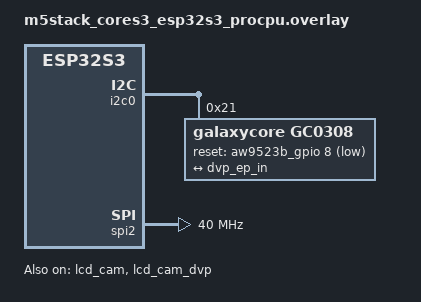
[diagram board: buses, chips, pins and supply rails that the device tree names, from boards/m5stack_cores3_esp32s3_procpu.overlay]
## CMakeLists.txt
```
cmake_minimum_required(VERSION 3.20.0)

list(APPEND DTS_ROOT ${CMAKE_CURRENT_SOURCE_DIR})

find_package(Zephyr REQUIRED HINTS $ENV{ZEPHYR_BASE})
project(camera_display)

target_include_directories(app PRIVATE
    ${ZEPHYR_BASE}/drivers/video
    ${CMAKE_CURRENT_SOURCE_DIR}/drivers/video
)

target_sources(app PRIVATE
    src/main.c
    drivers/video/gc0308.c
)
```

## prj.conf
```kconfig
CONFIG_LOG=y
CONFIG_LOG_DEFAULT_LEVEL=3
CONFIG_CONSOLE=y
CONFIG_UART_CONSOLE=y
CONFIG_SERIAL=y
CONFIG_GPIO=y
CONFIG_I2C=y
CONFIG_SPI=y
CONFIG_REGULATOR=y

# Video Subsystem
CONFIG_VIDEO=y
CONFIG_VIDEO_LOG_LEVEL_INF=y
CONFIG_VIDEO_INIT_PRIORITY=90
CONFIG_VIDEO_BUFFER_POOL_HEAP_SIZE=308000
CONFIG_VIDEO_BUFFER_POOL_NUM_MAX=2
CONFIG_VIDEO_BUFFER_POOL_ALIGN=32

# ESP32-S3 DMA and DVP
CONFIG_DMA=y
CONFIG_DMA_ESP32=y
CONFIG_DMA_ESP32_MAX_DESCRIPTOR_NUM=128

# Display Subsystem (ILI9342C)
CONFIG_DISPLAY=y
CONFIG_MIPI_DBI=y
CONFIG_ILI9342C=y
CONFIG_DISPLAY_LOG_LEVEL_INF=y

# Main thread stack size
CONFIG_MAIN_STACK_SIZE=4096

# Boot delay (3 seconds) to allow PC USB host enumeration and terminal reconnection
CONFIG_BOOT_DELAY=3000
```

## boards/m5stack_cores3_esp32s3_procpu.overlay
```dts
/*
 * Copyright (c) 2026
 * SPDX-License-Identifier: Apache-2.0
 */

#include <zephyr/dt-bindings/pinctrl/esp32s3-pinctrl.h>

/ {
	chosen {
		zephyr,camera = &lcd_cam_dvp;
		zephyr,display = &ili9342c;
	};
};

&pinctrl {
	lcd_cam_default: lcd_cam_default {
		group1 {
			pinmux = <LCD_CAM_V_SYNC_CAM_GPIO46>,
				 <LCD_CAM_H_ENABLE_CAM_GPIO38>,
				 <LCD_CAM_CAM_PCLK_GPIO45>,
				 <LCD_CAM_DATA_IN0_GPIO39>,
				 <LCD_CAM_DATA_IN1_GPIO40>,
				 <LCD_CAM_DATA_IN2_GPIO41>,
				 <LCD_CAM_DATA_IN3_GPIO42>,
				 <LCD_CAM_DATA_IN4_GPIO15>,
				 <LCD_CAM_DATA_IN5_GPIO16>,
				 <LCD_CAM_DATA_IN6_GPIO48>,
				 <LCD_CAM_DATA_IN7_GPIO47>;
			input-enable;
			bias-disable;
		};
	};
};

&i2c0 {
	gc0308: gc0308@21 {
		compatible = "galaxycore,gc0308";
		reg = <0x21>;
		status = "okay";
		reset-gpios = <&aw9523b_gpio 8 GPIO_ACTIVE_LOW>;

		port {
			gc0308_ep_out: endpoint {
				remote-endpoint = <&dvp_ep_in>;
			};
		};
	};
};

&avdd {
	regulator-boot-on;
	regulator-always-on;
};

&dvdd {
	regulator-boot-on;
	regulator-always-on;
};

&vcc_bl {
	regulator-boot-on;
	regulator-always-on;
};

&dma {
	status = "okay";
};

&lcd_cam {
	status = "okay";
	pinctrl-0 = <&lcd_cam_default>;
	pinctrl-names = "default";
};

&lcd_cam_dvp {
	status = "okay";
	cam-clk = <20000000>;
	source = <&gc0308>;

	port {
		dvp_ep_in: endpoint {
			remote-endpoint = <&gc0308_ep_out>;
		};
	};
};

&spi2 {
	clock-frequency = <40000000>;
};

&ili9342c {
	mipi-max-frequency = <40000000>;
};
```

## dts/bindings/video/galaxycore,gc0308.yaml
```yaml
# Copyright (c) 2026
# SPDX-License-Identifier: Apache-2.0

description: GalaxyCore GC0308 CMOS video sensor

compatible: "galaxycore,gc0308"

include: i2c-device.yaml

properties:
  reset-gpios:
    type: phandle-array
    description: |
      The RESET pin is asserted to reset the sensor.
      Active low.

  pwdn-gpios:
    type: phandle-array
    description: |
      The PWDN pin is asserted to power down the sensor.
      Active high.
```

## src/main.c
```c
/*
 * Copyright (c) 2026
 * SPDX-License-Identifier: Apache-2.0
 */

#include <zephyr/kernel.h>
#include <zephyr/device.h>
#include <zephyr/drivers/display.h>
#include <zephyr/drivers/video.h>
#include <zephyr/video/video.h>
#include <zephyr/logging/log.h>
#include <zephyr/version.h>
#include <soc/lcd_cam_struct.h>
#include <soc/gpio_struct.h>

LOG_MODULE_REGISTER(camera_display, LOG_LEVEL_INF);

#define LCD_WIDTH   320
#define LCD_HEIGHT  240
#define FRAME_SIZE  (LCD_WIDTH * LCD_HEIGHT * 2) /* 153,600 bytes for RGB565 */

/* Line buffer for screen clearing to save ~153KB of precious SRAM */
static uint16_t line_buf[LCD_WIDTH];

static void clear_screen_color(const struct device *display_dev, uint16_t rgb565_color)
{
	/* Fill one line with Big-Endian RGB565 */
	uint16_t be_color = (rgb565_color >> 8) | ((rgb565_color & 0xff) << 8);
	for (size_t i = 0; i < LCD_WIDTH; i++) {
		line_buf[i] = be_color;
	}

	struct display_buffer_descriptor desc = {
		.buf_size = sizeof(line_buf),
		.width = LCD_WIDTH,
		.height = 1,
		.pitch = LCD_WIDTH,
	};

	for (uint16_t y = 0; y < LCD_HEIGHT; y++) {
		display_write(display_dev, 0, y, &desc, line_buf);
	}
}

int main(void)
{
	int ret;
	const struct device *const display_dev = DEVICE_DT_GET(DT_CHOSEN(zephyr_display));
	const struct device *const camera_dev = DEVICE_DT_GET(DT_CHOSEN(zephyr_camera));

	LOG_INF("==============================================");
	LOG_INF(" M5Stack CoreS3 Camera LCD Preview Viewer     ");
	LOG_INF(" Zephyr OS Build: %s", KERNEL_VERSION_STRING);
	LOG_INF("==============================================");

	/* 1. Initialize and Test Built-in Display (ILI9342C) */
	if (!device_is_ready(display_dev)) {
		LOG_ERR("Display device (%s) not ready!", display_dev->name);
		return -ENODEV;
	}
	LOG_INF("Display device ready: %s", display_dev->name);

	/* Turn on display and clear screen with Blue (0x001F) */
	display_blanking_off(display_dev);
	LOG_INF("Clearing display with Blue background...");
	clear_screen_color(display_dev, 0x001F);
	k_msleep(300);

	/* 2. Initialize Camera Interface */
	if (!device_is_ready(camera_dev)) {
		LOG_ERR("Camera device (%s) not ready!", camera_dev->name);
		return -ENODEV;
	}
	LOG_INF("Camera device ready: %s", camera_dev->name);

	/* Set video format to 320x240 RGB565 */
	struct video_format fmt = {
		.pixelformat = VIDEO_PIX_FMT_RGB565,
		.width = LCD_WIDTH,
		.height = LCD_HEIGHT,
		.pitch = LCD_WIDTH * 2,
	};
	printk("[MAIN] Calling video_set_format...\n");
	ret = video_set_format(camera_dev, &fmt);
	printk("[MAIN] video_set_format returned: %d\n", ret);
	if (ret < 0) {
		LOG_ERR("Failed to set video format: %d", ret);
		return ret;
	}

	/* 3. Allocate 2 Video Buffers from Pool for Seamless Double Buffering */
	printk("[MAIN] Allocating 2 video buffers...\n");
	for (int i = 0; i < 2; i++) {
		struct video_buffer *vbuf = video_buffer_aligned_alloc(FRAME_SIZE, 32, K_NO_WAIT);
		if (vbuf == NULL) {
			printk("[MAIN] ERROR: Failed to allocate buffer %d!\n", i);
			return -ENOMEM;
		}
		vbuf->type = VIDEO_BUF_TYPE_OUTPUT;
		vbuf->bytesused = FRAME_SIZE;
		ret = video_enqueue(camera_dev, vbuf);
		if (ret < 0) {
			printk("[MAIN] ERROR: Failed to enqueue buffer %d: %d\n", i, ret);
			return ret;
		}
		printk("[MAIN] Buffer %d enqueued at %p\n", i, vbuf);
	}

	/* 4. Start Camera Streaming */
	printk("[MAIN] Starting video stream...\n");
	ret = video_stream_start(camera_dev, VIDEO_BUF_TYPE_OUTPUT);
	if (ret < 0) {
		printk("[MAIN] ERROR: Failed to start stream: %d\n", ret);
		return ret;
	}
	printk("[MAIN] Video stream started successfully! Entering loop...\n");
	LCD_CAM.lc_dma_int_ena.cam_vsync_int_ena = 1;

	/* 5. Live Preview Loop */
	uint32_t frame_count = 0;
	uint32_t last_report_time = k_uptime_get_32();

	while (1) {
		struct video_buffer *rx_buf = NULL;
		uint32_t t0 = k_uptime_get_32();
		ret = video_dequeue(camera_dev, &rx_buf, K_MSEC(1000));
		uint32_t t1 = k_uptime_get_32();
		if (ret < 0) {
			printk("[MAIN] dequeue timeout (%d). INT_ST=0x%08x CTRL=0x%08x CTRL1=0x%08x\n",
				ret, LCD_CAM.lc_dma_int_st.val, LCD_CAM.cam_ctrl.val, LCD_CAM.cam_ctrl1.val);
			continue;
		}

		/* Render frame onto ILI9342C display */
		struct display_buffer_descriptor desc = {
			.buf_size = rx_buf->bytesused,
			.width = LCD_WIDTH,
			.height = LCD_HEIGHT,
			.pitch = LCD_WIDTH,
		};
		display_write(display_dev, 0, 0, &desc, rx_buf->buffer);
		uint32_t t2 = k_uptime_get_32();

		/* Re-enqueue the buffer to capture the next frame */
		video_enqueue(camera_dev, rx_buf);
		uint32_t t3 = k_uptime_get_32();

		frame_count++;
		uint32_t now = k_uptime_get_32();
		if (now - last_report_time >= 2000) {
			uint32_t elapsed_ms = now - last_report_time;
			uint32_t fps_x10 = (frame_count * 10000) / elapsed_ms;
			printk("[MAIN] Preview: %u frames (~%u.%u FPS) [deq=%ums, disp=%ums, enq=%ums] INT_RAW=0x%x G46=%d\n",
				frame_count, fps_x10 / 10, fps_x10 % 10,
				t1 - t0, t2 - t1, t3 - t2,
				LCD_CAM.lc_dma_int_raw.val, (int)((GPIO.in1.val >> 14) & 1));
			frame_count = 0;
			last_report_time = now;
		}
	}

	return 0;
}
```
